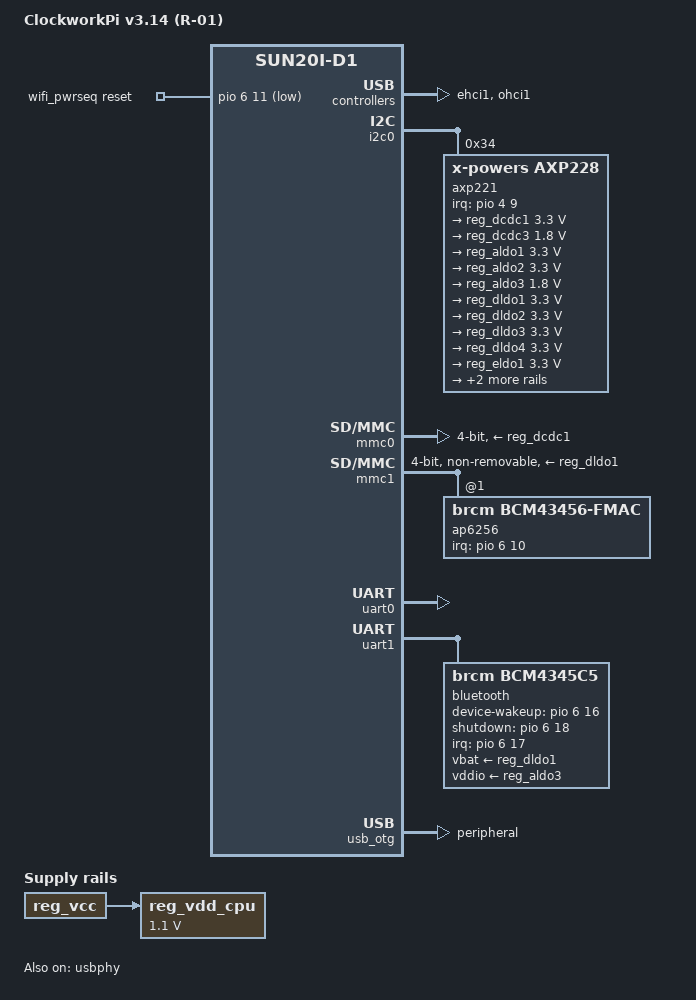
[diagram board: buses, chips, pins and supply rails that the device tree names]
// SPDX-License-Identifier: (GPL-2.0+ or MIT)
// Copyright (C) 2022 Samuel Holland <samuel@sholland.org>

#include <dt-bindings/gpio/gpio.h>

/dts-v1/;

#include "sun20i-d1.dtsi"
#include "sun20i-common-regulators.dtsi"

/ {
	model = "ClockworkPi v3.14 (R-01)";
	compatible = "clockwork,r-01-clockworkpi-v3.14", "allwinner,sun20i-d1";

	aliases {
		ethernet0 = &ap6256;
		serial0 = &uart0;
	};

	chosen {
		stdout-path = "serial0:115200n8";
	};

	/*
	 * This regulator is PWM-controlled, but the PWM controller is not
	 * yet supported, so fix the regulator to its default voltage.
	 */
	reg_vdd_cpu: vdd-cpu {
		compatible = "regulator-fixed";
		regulator-name = "vdd-cpu";
		regulator-min-microvolt = <1100000>;
		regulator-max-microvolt = <1100000>;
		vin-supply = <&reg_vcc>;
	};

	wifi_pwrseq: wifi-pwrseq {
		compatible = "mmc-pwrseq-simple";
		reset-gpios = <&pio 6 11 GPIO_ACTIVE_LOW>; /* PG11/GPIO3 */
	};
};

&cpu0 {
	cpu-supply = <&reg_vdd_cpu>;
};

&dcxo {
	clock-frequency = <24000000>;
};

&ehci1 {
	status = "okay";
};

&i2c0 {
	pinctrl-0 = <&i2c0_pb10_pins>;
	pinctrl-names = "default";
	status = "okay";

	axp221: pmic@34 {
		compatible = "x-powers,axp228", "x-powers,axp221";
		reg = <0x34>;
		interrupt-parent = <&pio>;
		interrupts = <4 9 IRQ_TYPE_LEVEL_LOW>; /* PE9/GPIO2 */
		interrupt-controller;
		#interrupt-cells = <1>;

		ac_power_supply: ac-power {
			compatible = "x-powers,axp221-ac-power-supply";
		};

		axp_adc: adc {
			compatible = "x-powers,axp221-adc";
			#io-channel-cells = <1>;
		};

		battery_power_supply: battery-power {
			compatible = "x-powers,axp221-battery-power-supply";
		};

		axp_gpio: gpio {
			compatible = "x-powers,axp221-gpio";
			gpio-controller;
			#gpio-cells = <2>;
		};

		regulators {
			x-powers,dcdc-freq = <3000>;

			reg_dcdc1: dcdc1 {
				regulator-name = "sys-3v3";
				regulator-always-on;
				regulator-min-microvolt = <3300000>;
				regulator-max-microvolt = <3300000>;
			};

			reg_dcdc3: dcdc3 {
				regulator-name = "sys-1v8";
				regulator-always-on;
				regulator-min-microvolt = <1800000>;
				regulator-max-microvolt = <1800000>;
			};

			reg_aldo1: aldo1 {
				regulator-name = "aud-3v3";
				regulator-min-microvolt = <3300000>;
				regulator-max-microvolt = <3300000>;
			};

			reg_aldo2: aldo2 {
				regulator-name = "disp-3v3";
				regulator-always-on;
				regulator-min-microvolt = <3300000>;
				regulator-max-microvolt = <3300000>;
			};

			reg_aldo3: aldo3 {
				regulator-name = "vdd-wifi";
				regulator-min-microvolt = <1800000>;
				regulator-max-microvolt = <1800000>;
			};

			/* DLDO1 and ELDO1-3 are connected in parallel. */
			reg_dldo1: dldo1 {
				regulator-name = "vbat-wifi-a";
				regulator-always-on;
				regulator-min-microvolt = <3300000>;
				regulator-max-microvolt = <3300000>;
			};

			/* DLDO2-DLDO4 are connected in parallel. */
			reg_dldo2: dldo2 {
				regulator-name = "vcc-3v3-ext-a";
				regulator-always-on;
				regulator-min-microvolt = <3300000>;
				regulator-max-microvolt = <3300000>;
			};

			reg_dldo3: dldo3 {
				regulator-name = "vcc-3v3-ext-b";
				regulator-always-on;
				regulator-min-microvolt = <3300000>;
				regulator-max-microvolt = <3300000>;
			};

			reg_dldo4: dldo4 {
				regulator-name = "vcc-3v3-ext-c";
				regulator-always-on;
				regulator-min-microvolt = <3300000>;
				regulator-max-microvolt = <3300000>;
			};

			reg_eldo1: eldo1 {
				regulator-name = "vbat-wifi-b";
				regulator-always-on;
				regulator-min-microvolt = <3300000>;
				regulator-max-microvolt = <3300000>;
			};

			reg_eldo2: eldo2 {
				regulator-name = "vbat-wifi-c";
				regulator-always-on;
				regulator-min-microvolt = <3300000>;
				regulator-max-microvolt = <3300000>;
			};

			reg_eldo3: eldo3 {
				regulator-name = "vbat-wifi-d";
				regulator-always-on;
				regulator-min-microvolt = <3300000>;
				regulator-max-microvolt = <3300000>;
			};
		};

		usb_power_supply: usb-power {
			compatible = "x-powers,axp221-usb-power-supply";
			status = "disabled";
		};
	};
};

&mmc0 {
	broken-cd;
	bus-width = <4>;
	disable-wp;
	vmmc-supply = <&reg_dcdc1>;
	vqmmc-supply = <&reg_vcc_3v3>;
	pinctrl-0 = <&mmc0_pins>;
	pinctrl-names = "default";
	status = "okay";
};

&mmc1 {
	bus-width = <4>;
	mmc-pwrseq = <&wifi_pwrseq>;
	non-removable;
	vmmc-supply = <&reg_dldo1>;
	vqmmc-supply = <&reg_aldo3>;
	pinctrl-0 = <&mmc1_pins>;
	pinctrl-names = "default";
	status = "okay";

	ap6256: wifi@1 {
		compatible = "brcm,bcm43456-fmac", "brcm,bcm4329-fmac";
		reg = <1>;
		interrupt-parent = <&pio>;
		interrupts = <6 10 IRQ_TYPE_LEVEL_LOW>; /* PG10/GPIO4 */
		interrupt-names = "host-wake";
	};
};

&ohci1 {
	status = "okay";
};

&pio {
	vcc-pg-supply = <&reg_ldoa>;
};

&uart0 {
	pinctrl-0 = <&uart0_pb8_pins>;
	pinctrl-names = "default";
	status = "okay";
};

&uart1 {
	uart-has-rtscts;
	pinctrl-0 = <&uart1_pg6_pins>, <&uart1_pg8_rts_cts_pins>;
	pinctrl-names = "default";
	status = "okay";

	bluetooth {
		compatible = "brcm,bcm4345c5";
		interrupt-parent = <&pio>;
		interrupts = <6 17 IRQ_TYPE_LEVEL_HIGH>; /* PG17/GPIO6 */
		device-wakeup-gpios = <&pio 6 16 GPIO_ACTIVE_HIGH>; /* PG16/GPIO7 */
		shutdown-gpios = <&pio 6 18 GPIO_ACTIVE_HIGH>; /* PG18/GPIO5 */
		max-speed = <1500000>;
		vbat-supply = <&reg_dldo1>;
		vddio-supply = <&reg_aldo3>;
	};
};

&usb_otg {
	dr_mode = "peripheral";
	status = "okay";
};

&usbphy {
	usb0_vbus_power-supply = <&ac_power_supply>;
	usb1_vbus-supply = <&reg_vcc>;
	status = "okay";
};
